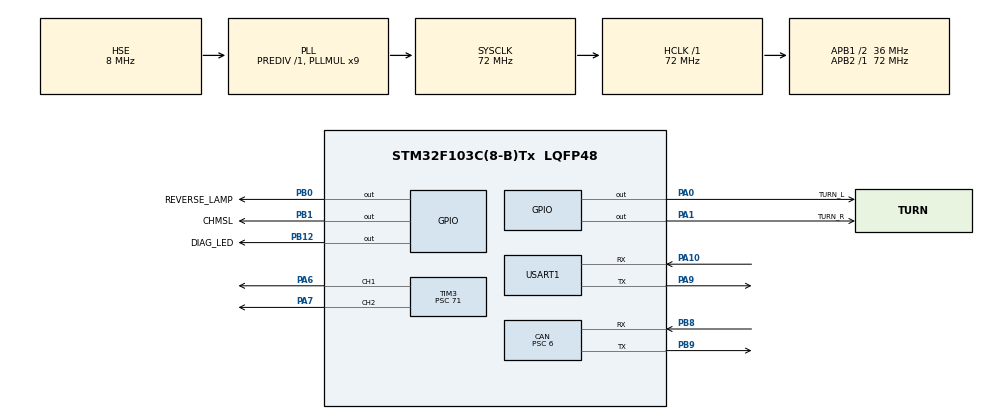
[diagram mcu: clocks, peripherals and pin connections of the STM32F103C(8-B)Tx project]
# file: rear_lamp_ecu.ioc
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CAN.BS1=CAN_BS1_9TQ
CAN.BS2=CAN_BS2_2TQ
CAN.CalculateBaudRate=499999
CAN.CalculateTimeBit=2000
CAN.CalculateTimeQuantum=166.66666666666669
CAN.Prescaler=6
Mcu.Family=STM32F1
Mcu.Name=STM32F103C(8-B)Tx
Mcu.Package=LQFP48
NVIC.PriorityGroup=NVIC_PRIORITYGROUP_4
PA0-WKUP.GPIO_Label=TURN_L
PA0-WKUP.Signal=GPIO_Output
PA1.GPIO_Label=TURN_R
PA1.Signal=GPIO_Output
PA10.Mode=Asynchronous
PA10.Signal=USART1_RX
PA13.Mode=Serial_Wire
PA13.Signal=SYS_JTMS-SWDIO
PA14.Mode=Serial_Wire
PA14.Signal=SYS_JTCK-SWCLK
PA6.Signal=S_TIM3_CH1
PA7.Signal=S_TIM3_CH2
PA9.Mode=Asynchronous
PA9.Signal=USART1_TX
PB0.GPIO_Label=REVERSE_LAMP
PB0.Signal=GPIO_Output
PB1.GPIO_Label=CHMSL
PB1.Signal=GPIO_Output
PB12.GPIO_Label=DIAG_LED
PB12.Signal=GPIO_Output
PB8.Mode=CAN_Activate
PB8.Signal=CAN_RX
PB9.Mode=CAN_Activate
PB9.Signal=CAN_TX
PD0-OSC_IN.Mode=HSE-External-Oscillator
PD0-OSC_IN.Signal=RCC_OSC_IN
PD1-OSC_OUT.Mode=HSE-External-Oscillator
PD1-OSC_OUT.Signal=RCC_OSC_OUT
ProjectManager.HeapSize=0x200
ProjectManager.StackSize=0x400
ProjectManager.TargetToolchain=STM32CubeIDE
RCC.AHBFreq_Value=72000000
RCC.APB1CLKDivider=RCC_HCLK_DIV2
RCC.APB1Freq_Value=36000000
RCC.APB1TimFreq_Value=72000000
RCC.APB2Freq_Value=72000000
RCC.APB2TimFreq_Value=72000000
RCC.HCLKFreq_Value=72000000
RCC.PLLMUL=RCC_PLL_MUL9
RCC.PLLSourceVirtual=RCC_PLLSOURCE_HSE
RCC.SYSCLKFreq_VALUE=72000000
RCC.SYSCLKSource=RCC_SYSCLKSOURCE_PLLCLK
RCC.USBFreq_Value=72000000
SH.S_TIM3_CH1.0=TIM3_CH1,PWM Generation1 CH1
SH.S_TIM3_CH2.0=TIM3_CH2,PWM Generation2 CH2
TIM3.Channel-PWM\ Generation1\ CH1=TIM_CHANNEL_1
TIM3.Channel-PWM\ Generation2\ CH2=TIM_CHANNEL_2
TIM3.Period=999
TIM3.Prescaler=71
USART1.VirtualMode=VM_ASYNC
VP_TIM3_VS_ClockSourceINT.Mode=Internal
board=custom

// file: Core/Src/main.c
/* USER CODE BEGIN Header */
/**
  ******************************************************************************
  * @file           : main.c
  * @brief          : Main program body
  ******************************************************************************
  * @attention
  *
  * Copyright (c) 2026 STMicroelectronics.
  * All rights reserved.
  *
  * This software is licensed under terms that can be found in the LICENSE file
  * in the root directory of this software component.
  * If no LICENSE file comes with this software, it is provided AS-IS.
  *
  ******************************************************************************
  */
/* USER CODE END Header */
#include "main.h"

CAN_HandleTypeDef hcan;

TIM_HandleTypeDef htim3;

UART_HandleTypeDef huart1;

void SystemClock_Config(void);
static void MX_GPIO_Init(void);
static void MX_CAN_Init(void);
static void MX_TIM3_Init(void);
static void MX_USART1_UART_Init(void);

/* USER CODE BEGIN 0 */
static uint8_t lampCommand = 0;
static uint8_t commandReceived = 0;
static uint8_t previousMode = 0;

static uint32_t lastCommandTick = 0;
static uint32_t blinkStartTick = 0;

/* 0x100, 표준 데이터 프레임, DLC 1만 유효 */
static void ReceiveCommand(void)
{
    CAN_RxHeaderTypeDef header;
    uint8_t data[8];

    /* 한 번에 최대 3개 처리: 출력 제어가 밀리지 않도록 제한 */
    for (uint8_t i = 0; i < 3; i++)
    {
        if (HAL_CAN_GetRxFifoFillLevel(&hcan, CAN_RX_FIFO0) == 0)
            break;

        if (HAL_CAN_GetRxMessage(
                &hcan, CAN_RX_FIFO0, &header, data) != HAL_OK)
            break;

        if (header.IDE != CAN_ID_STD ||
            header.RTR != CAN_RTR_DATA ||
            header.StdId != 0x100U ||
            header.DLC != 1U)
            continue;

        uint8_t turn = (data[0] >> 1) & 0x03U;

        /* TURN=3 또는 예약 비트=1이면 명령 전체 무효 */
        if (turn == 3U || (data[0] & 0x80U) != 0U)
            continue;

        lampCommand = data[0];
        lastCommandTick = HAL_GetTick();
        commandReceived = 1;
    }
}

static void UpdateLamps(void)
{
    uint32_t now = HAL_GetTick();

    uint8_t valid =
        commandReceived &&
        ((uint32_t)(now - lastCommandTick) < 200U);

    uint8_t command = valid ? lampCommand : 0U;

    uint8_t ign     = command & 0x01U;
    uint8_t turn    = (command >> 1) & 0x03U;
    uint8_t hazard  = (command >> 3) & 0x01U;
    uint8_t tail    = (command >> 4) & 0x01U;
    uint8_t brake   = (command >> 5) & 0x01U;
    uint8_t reverse = (command >> 6) & 0x01U;

    /* 0=OFF, 1=LEFT, 2=RIGHT, 3=HAZARD */
    uint8_t mode = hazard ? 3U : (ign ? turn : 0U);

    /* 모드가 바뀔 때만 점멸 위상 초기화 */
    if (mode != previousMode)
    {
        blinkStartTick = now;
        previousMode = mode;
    }

    uint8_t blinkOn =
        (((uint32_t)(now - blinkStartTick) / 400U) & 1U) == 0U;

    uint8_t leftOn =
        blinkOn && (mode == 1U || mode == 3U);

    uint8_t rightOn =
        blinkOn && (mode == 2U || mode == 3U);

    HAL_GPIO_WritePin(
        TURN_L_GPIO_Port, TURN_L_Pin,
        leftOn ? GPIO_PIN_SET : GPIO_PIN_RESET);

    HAL_GPIO_WritePin(
        TURN_R_GPIO_Port, TURN_R_Pin,
        rightOn ? GPIO_PIN_SET : GPIO_PIN_RESET);

    /* ARR=999: 미등 20%, 제동 100%. 제동 우선 */
    uint32_t duty = brake ? 1000U : (tail ? 200U : 0U);

    __HAL_TIM_SET_COMPARE(&htim3, TIM_CHANNEL_1, duty);
    __HAL_TIM_SET_COMPARE(&htim3, TIM_CHANNEL_2, duty);

    HAL_GPIO_WritePin(
        REVERSE_LAMP_GPIO_Port, REVERSE_LAMP_Pin,
        (ign && reverse) ? GPIO_PIN_SET : GPIO_PIN_RESET);

    HAL_GPIO_WritePin(
        CHMSL_GPIO_Port, CHMSL_Pin,
        brake ? GPIO_PIN_SET : GPIO_PIN_RESET);
}
/* USER CODE END 0 */

int main(void)
{

  /* MCU Configuration--------------------------------------------------------*/

  /* Reset of all peripherals, Initializes the Flash interface and the Systick. */
  HAL_Init();

  /* Configure the system clock */
  SystemClock_Config();

  /* Initialize all configured peripherals */
  MX_GPIO_Init();
  MX_CAN_Init();
  MX_TIM3_Init();
  MX_USART1_UART_Init();
  /* USER CODE BEGIN 2 */

  /* 시작 시 모든 출력 OFF */
  HAL_GPIO_WritePin(TURN_L_GPIO_Port, TURN_L_Pin, GPIO_PIN_RESET);
  HAL_GPIO_WritePin(TURN_R_GPIO_Port, TURN_R_Pin, GPIO_PIN_RESET);
  HAL_GPIO_WritePin(REVERSE_LAMP_GPIO_Port,
                    REVERSE_LAMP_Pin, GPIO_PIN_RESET);
  HAL_GPIO_WritePin(CHMSL_GPIO_Port, CHMSL_Pin, GPIO_PIN_RESET);

  __HAL_TIM_SET_COMPARE(&htim3, TIM_CHANNEL_1, 0);
  __HAL_TIM_SET_COMPARE(&htim3, TIM_CHANNEL_2, 0);

  if (HAL_TIM_PWM_Start(&htim3, TIM_CHANNEL_1) != HAL_OK ||
      HAL_TIM_PWM_Start(&htim3, TIM_CHANNEL_2) != HAL_OK)
  {
      Error_Handler();
  }

  /* 수신 필터: 일단 수신하고 ReceiveCommand에서 유효성 판단 */
  CAN_FilterTypeDef filter = {0};

  filter.FilterBank = 0;
  filter.FilterMode = CAN_FILTERMODE_IDMASK;
  filter.FilterScale = CAN_FILTERSCALE_32BIT;
  filter.FilterFIFOAssignment = CAN_RX_FIFO0;
  filter.FilterActivation = ENABLE;
  filter.SlaveStartFilterBank = 14;

  if (HAL_CAN_ConfigFilter(&hcan, &filter) != HAL_OK ||
      HAL_CAN_Start(&hcan) != HAL_OK)
  {
      Error_Handler();
  }
  /* USER CODE END 2 */

  /* Infinite loop */
  while (1)
  {

    /* USER CODE BEGIN 3 */
	  ReceiveCommand();
	  UpdateLamps();
  }
  /* USER CODE END 3 */
}

void SystemClock_Config(void)
{
  RCC_OscInitTypeDef RCC_OscInitStruct = {0};
  RCC_ClkInitTypeDef RCC_ClkInitStruct = {0};

  /** Initializes the RCC Oscillators according to the specified parameters
  * in the RCC_OscInitTypeDef structure.
  */
  RCC_OscInitStruct.OscillatorType = RCC_OSCILLATORTYPE_HSE;
  RCC_OscInitStruct.HSEState = RCC_HSE_ON;
  RCC_OscInitStruct.HSEPredivValue = RCC_HSE_PREDIV_DIV1;
  RCC_OscInitStruct.HSIState = RCC_HSI_ON;
  RCC_OscInitStruct.PLL.PLLState = RCC_PLL_ON;
  RCC_OscInitStruct.PLL.PLLSource = RCC_PLLSOURCE_HSE;
  RCC_OscInitStruct.PLL.PLLMUL = RCC_PLL_MUL9;
  if (HAL_RCC_OscConfig(&RCC_OscInitStruct) != HAL_OK)
  {
    Error_Handler();
  }

  /** Initializes the CPU, AHB and APB buses clocks
  */
  RCC_ClkInitStruct.ClockType = RCC_CLOCKTYPE_HCLK|RCC_CLOCKTYPE_SYSCLK
                              |RCC_CLOCKTYPE_PCLK1|RCC_CLOCKTYPE_PCLK2;
  RCC_ClkInitStruct.SYSCLKSource = RCC_SYSCLKSOURCE_PLLCLK;
  RCC_ClkInitStruct.AHBCLKDivider = RCC_SYSCLK_DIV1;
  RCC_ClkInitStruct.APB1CLKDivider = RCC_HCLK_DIV2;
  RCC_ClkInitStruct.APB2CLKDivider = RCC_HCLK_DIV1;

  if (HAL_RCC_ClockConfig(&RCC_ClkInitStruct, FLASH_LATENCY_2) != HAL_OK)
  {
    Error_Handler();
  }
}

static void MX_CAN_Init(void)
{

  hcan.Instance = CAN1;
  hcan.Init.Prescaler = 6;
  hcan.Init.Mode = CAN_MODE_NORMAL;
  hcan.Init.SyncJumpWidth = CAN_SJW_1TQ;
  hcan.Init.TimeSeg1 = CAN_BS1_9TQ;
  hcan.Init.TimeSeg2 = CAN_BS2_2TQ;
  hcan.Init.TimeTriggeredMode = DISABLE;
  hcan.Init.AutoBusOff = DISABLE;
  hcan.Init.AutoWakeUp = DISABLE;
  hcan.Init.AutoRetransmission = DISABLE;
  hcan.Init.ReceiveFifoLocked = DISABLE;
  hcan.Init.TransmitFifoPriority = DISABLE;
  if (HAL_CAN_Init(&hcan) != HAL_OK)
  {
    Error_Handler();
  }

}

static void MX_TIM3_Init(void)
{

  TIM_ClockConfigTypeDef sClockSourceConfig = {0};
  TIM_MasterConfigTypeDef sMasterConfig = {0};
  TIM_OC_InitTypeDef sConfigOC = {0};

  htim3.Instance = TIM3;
  htim3.Init.Prescaler = 71;
  htim3.Init.CounterMode = TIM_COUNTERMODE_UP;
  htim3.Init.Period = 999;
  htim3.Init.ClockDivision = TIM_CLOCKDIVISION_DIV1;
  htim3.Init.AutoReloadPreload = TIM_AUTORELOAD_PRELOAD_DISABLE;
  if (HAL_TIM_Base_Init(&htim3) != HAL_OK)
  {
    Error_Handler();
  }
  sClockSourceConfig.ClockSource = TIM_CLOCKSOURCE_INTERNAL;
  if (HAL_TIM_ConfigClockSource(&htim3, &sClockSourceConfig) != HAL_OK)
  {
    Error_Handler();
  }
  if (HAL_TIM_PWM_Init(&htim3) != HAL_OK)
  {
    Error_Handler();
  }
  sMasterConfig.MasterOutputTrigger = TIM_TRGO_RESET;
  sMasterConfig.MasterSlaveMode = TIM_MASTERSLAVEMODE_DISABLE;
  if (HAL_TIMEx_MasterConfigSynchronization(&htim3, &sMasterConfig) != HAL_OK)
  {
    Error_Handler();
  }
  sConfigOC.OCMode = TIM_OCMODE_PWM1;
  sConfigOC.Pulse = 0;
  sConfigOC.OCPolarity = TIM_OCPOLARITY_HIGH;
  sConfigOC.OCFastMode = TIM_OCFAST_DISABLE;
  if (HAL_TIM_PWM_ConfigChannel(&htim3, &sConfigOC, TIM_CHANNEL_1) != HAL_OK)
  {
    Error_Handler();
  }
  if (HAL_TIM_PWM_ConfigChannel(&htim3, &sConfigOC, TIM_CHANNEL_2) != HAL_OK)
  {
    Error_Handler();
  }
  HAL_TIM_MspPostInit(&htim3);

}

static void MX_USART1_UART_Init(void)
{

  huart1.Instance = USART1;
  huart1.Init.BaudRate = 115200;
  huart1.Init.WordLength = UART_WORDLENGTH_8B;
  huart1.Init.StopBits = UART_STOPBITS_1;
  huart1.Init.Parity = UART_PARITY_NONE;
  huart1.Init.Mode = UART_MODE_TX_RX;
  huart1.Init.HwFlowCtl = UART_HWCONTROL_NONE;
  huart1.Init.OverSampling = UART_OVERSAMPLING_16;
  if (HAL_UART_Init(&huart1) != HAL_OK)
  {
    Error_Handler();
  }

}

static void MX_GPIO_Init(void)
{
  GPIO_InitTypeDef GPIO_InitStruct = {0};

  /* GPIO Ports Clock Enable */
  __HAL_RCC_GPIOD_CLK_ENABLE();
  __HAL_RCC_GPIOA_CLK_ENABLE();
  __HAL_RCC_GPIOB_CLK_ENABLE();

  /*Configure GPIO pin Output Level */
  HAL_GPIO_WritePin(GPIOA, TURN_L_Pin|TURN_R_Pin, GPIO_PIN_RESET);

  /*Configure GPIO pin Output Level */
  HAL_GPIO_WritePin(GPIOB, REVERSE_LAMP_Pin|CHMSL_Pin|DIAG_LED_Pin, GPIO_PIN_RESET);

  /*Configure GPIO pins : TURN_L_Pin TURN_R_Pin */
  GPIO_InitStruct.Pin = TURN_L_Pin|TURN_R_Pin;
  GPIO_InitStruct.Mode = GPIO_MODE_OUTPUT_PP;
  GPIO_InitStruct.Pull = GPIO_NOPULL;
  GPIO_InitStruct.Speed = GPIO_SPEED_FREQ_LOW;
  HAL_GPIO_Init(GPIOA, &GPIO_InitStruct);

  /*Configure GPIO pins : REVERSE_LAMP_Pin CHMSL_Pin DIAG_LED_Pin */
  GPIO_InitStruct.Pin = REVERSE_LAMP_Pin|CHMSL_Pin|DIAG_LED_Pin;
  GPIO_InitStruct.Mode = GPIO_MODE_OUTPUT_PP;
  GPIO_InitStruct.Pull = GPIO_NOPULL;
  GPIO_InitStruct.Speed = GPIO_SPEED_FREQ_LOW;
  HAL_GPIO_Init(GPIOB, &GPIO_InitStruct);

}

void Error_Handler(void)
{
  __disable_irq();
  while (1)
  {
  }
}
